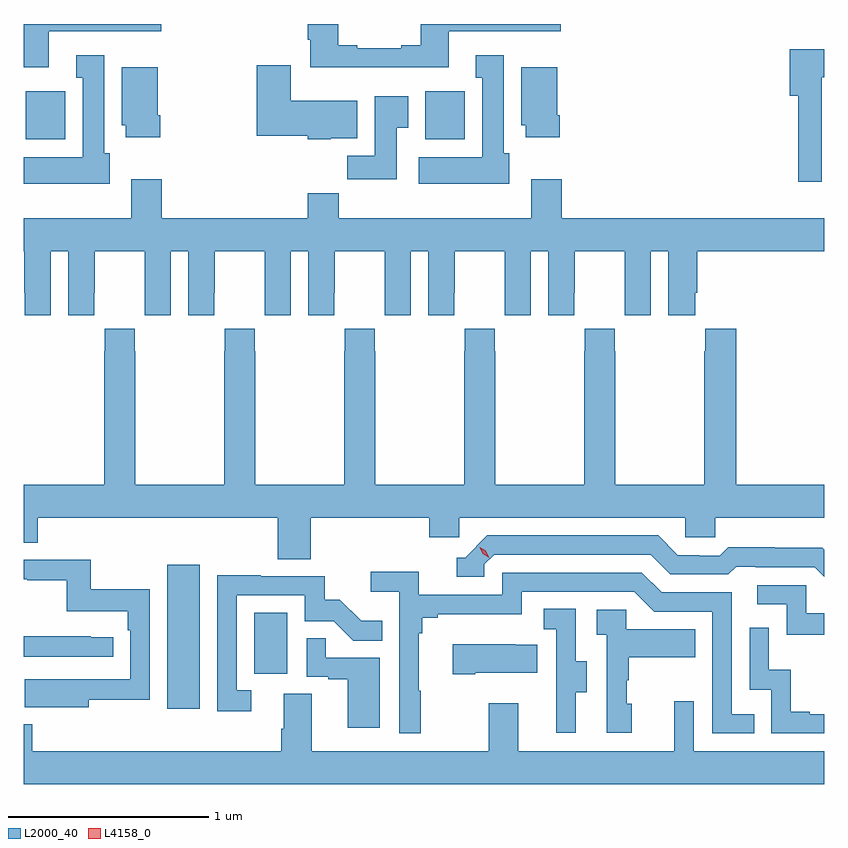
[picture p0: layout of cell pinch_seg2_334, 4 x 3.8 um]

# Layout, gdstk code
import gdstk
lib = gdstk.Library(unit=1e-6, precision=1e-09)
def R(c, l, rs):  # rectangles x0, y0, x1, y1
    for r in rs: c.add(gdstk.rectangle(r[:2], r[2:], *l))
def P(c, l, *ps):  # polygons
    for p in ps: c.add(gdstk.Polygon(p, *l))
L2000_40 = (2000, 40)
L4158_0 = (4158, 0)

pinch_seg2_334 = lib.new_cell('pinch_seg2_334')
R(pinch_seg2_334, L2000_40, [(984.287,636.024,984.448,636.745), (984.722,636.198,984.886,636.505), (983.579,638.87,983.776,639.112), (985.577,638.87,985.774,639.112)])
P(pinch_seg2_334, L2000_40, [(985.693,639.411),(986.254,639.411),(986.254,639.447),(985.553,639.447),(985.553,639.34),(985.457,639.34),(985.457,639.327),(985.237,639.327),(985.237,639.34),(985.141,639.34),(985.141,639.447),(984.989,639.447),(984.989,639.369),(985.001,639.369),(985.001,639.23),(985.693,639.23)],
  [(983.695,639.411),(984.256,639.411),(984.256,639.447),(983.57,639.447),(983.57,639.23),(983.695,639.23)],
  [(987.558,639.182),(987.57,639.182),(987.57,639.322),(987.398,639.322),(987.398,639.089),(987.442,639.089),(987.442,638.658),(987.558,638.658)],
  [(985.996,638.802),(985.969,638.802),(985.969,639.292),(985.829,639.292),(985.829,639.179),(985.862,639.179),(985.862,638.782),(985.545,638.782),(985.545,638.648),(985.996,638.648)],
  [(983.998,638.802),(983.971,638.802),(983.971,639.292),(983.831,639.292),(983.831,639.179),(983.864,639.179),(983.864,638.782),(983.57,638.782),(983.57,638.648),(983.998,638.648)],
  [(985.104,638.876),(985.237,638.876),(985.237,639.064),(984.904,639.064),(984.904,639.241),(984.734,639.241),(984.734,638.888),(984.99,638.888),(984.99,638.87),(985.104,638.87)],
  [(984.251,638.992),(984.238,638.992),(984.238,639.232),(984.059,639.232),(984.059,638.94),(984.08,638.94),(984.08,638.88),(984.251,638.88)],
  [(986.249,638.992),(986.236,638.992),(986.236,639.232),(986.057,639.232),(986.057,638.94),(986.078,638.94),(986.078,638.88),(986.249,638.88)],
  [(985.435,638.929),(985.492,638.929),(985.492,639.085),(985.325,639.085),(985.325,638.788),(985.186,638.788),(985.186,638.67),(985.435,638.67)],
  [(983.704,638.312),(983.792,638.312),(983.792,637.992),(983.922,637.992),(983.922,638.104),(983.923,638.104),(983.923,638.312),(984.173,638.312),(984.173,638.104),(984.174,638.104),(984.174,637.992),(984.304,637.992),(984.304,638.312),(984.392,638.312),(984.392,637.992),(984.522,637.992),(984.522,638.104),(984.523,638.104),(984.523,638.312),(984.773,638.312),(984.773,638.104),(984.774,638.104),(984.774,637.992),(984.904,637.992),(984.904,638.312),(984.992,638.312),(984.992,637.992),(985.122,637.992),(985.122,638.104),(985.123,638.104),(985.123,638.312),(985.373,638.312),(985.373,638.104),(985.374,638.104),(985.374,637.992),(985.504,637.992),(985.504,638.312),(985.592,638.312),(985.592,637.992),(985.722,637.992),(985.722,638.104),(985.723,638.104),(985.723,638.312),(985.973,638.312),(985.973,638.104),(985.974,638.104),(985.974,637.992),(986.104,637.992),(986.104,638.312),(986.192,638.312),(986.192,637.992),(986.322,637.992),(986.322,638.104),(986.323,638.104),(986.323,638.312),(986.573,638.312),(986.573,638.104),(986.574,638.104),(986.574,637.992),(986.704,637.992),(986.704,638.312),(986.792,638.312),(986.792,637.992),(986.926,637.992),(986.926,638.104),(986.936,638.104),(986.936,638.312),(987.57,638.312),(987.57,638.476),(986.258,638.476),(986.258,638.671),(986.105,638.671),(986.105,638.476),(985.145,638.476),(985.145,638.6),(984.989,638.6),(984.989,638.476),(984.26,638.476),(984.26,638.671),(984.107,638.671),(984.107,638.476),(983.57,638.476),(983.57,638.312),(983.573,638.312),(983.573,638.104),(983.574,638.104),(983.574,637.992),(983.704,637.992)],
  [(985.004,636.98),(985.595,636.98),(985.595,636.882),(985.746,636.882),(985.746,636.98),(986.877,636.98),(986.877,636.882),(987.027,636.882),(987.027,636.98),(987.57,636.98),(987.57,637.144),(987.131,637.144),(987.131,637.924),(986.977,637.924),(986.977,637.811),(986.971,637.811),(986.971,637.144),(986.526,637.144),(986.526,637.811),(986.523,637.811),(986.523,637.924),(986.373,637.924),(986.373,637.811),(986.371,637.811),(986.371,637.144),(985.926,637.144),(985.926,637.811),(985.923,637.811),(985.923,637.924),(985.773,637.924),(985.773,637.811),(985.771,637.811),(985.771,637.144),(985.326,637.144),(985.326,637.811),(985.323,637.811),(985.323,637.924),(985.173,637.924),(985.173,637.811),(985.171,637.811),(985.171,637.144),(984.726,637.144),(984.726,637.811),(984.723,637.811),(984.723,637.924),(984.573,637.924),(984.573,637.811),(984.571,637.811),(984.571,637.144),(984.126,637.144),(984.126,637.811),(984.123,637.811),(984.123,637.924),(983.973,637.924),(983.973,637.811),(983.971,637.811),(983.971,637.144),(983.57,637.144),(983.57,636.853),(983.639,636.853),(983.639,636.98),(984.839,636.98),(984.839,636.772),(985.004,636.772)],
  [(985.872,636.747),(985.92,636.795),(986.703,636.795),(986.802,636.696),(987.091,636.696),(987.13,636.735),(987.229,636.735),(987.229,636.732),(987.522,636.732),(987.57,636.684),(987.57,636.819),(987.56,636.829),(987.324,636.829),(987.324,636.832),(987.091,636.832),(987.049,636.789),(986.946,636.789),(986.946,636.792),(986.839,636.792),(986.74,636.891),(985.887,636.891),(985.776,636.78),(985.733,636.78),(985.733,636.684),(985.872,636.684)],
  [(983.893,636.07),(984.198,636.07),(984.198,636.622),(983.905,636.622),(983.905,636.768),(983.57,636.768),(983.57,636.672),(983.587,636.672),(983.587,636.667),(983.784,636.667),(983.784,636.512),(984.089,636.512),(984.089,636.416),(984.102,636.416),(984.102,636.171),(983.789,636.171),(983.789,636.172),(983.575,636.172),(983.575,636.032),(983.893,636.032)],
  [(985.555,636.113),(985.543,636.113),(985.543,636.401),(985.562,636.401),(985.562,636.478),(985.639,636.478),(985.639,636.497),(986.058,636.497),(986.058,636.609),(986.622,636.609),(986.721,636.51),(987.012,636.51),(987.012,635.901),(987.221,635.901),(987.221,635.997),(987.108,635.997),(987.108,636.606),(986.758,636.606),(986.659,636.705),(985.962,636.705),(985.962,636.594),(985.544,636.594),(985.544,636.71),(985.305,636.71),(985.305,636.608),(985.446,636.608),(985.446,635.901),(985.555,635.901)],
  [(984.706,636.117),(984.633,636.117),(984.633,636.591),(984.975,636.591),(984.975,636.462),(985.119,636.462),(985.217,636.364),(985.361,636.364),(985.361,636.463),(985.257,636.463),(985.15,636.57),(985.074,636.57),(985.074,636.687),(984.755,636.687),(984.755,636.692),(984.537,636.692),(984.537,636.012),(984.706,636.012)],
  [(987.57,636.501),(987.48,636.501),(987.48,636.642),(987.237,636.642),(987.237,636.546),(987.384,636.546),(987.384,636.393),(987.57,636.393)],
  [(986.329,636.106),(986.383,636.106),(986.383,636.261),(986.328,636.261),(986.328,636.524),(986.169,636.524),(986.169,636.421),(986.232,636.421),(986.232,636.117),(986.231,636.117),(986.231,635.904),(986.329,635.904)],
  [(986.608,636.048),(986.583,636.048),(986.583,636.167),(986.593,636.167),(986.593,636.281),(986.927,636.281),(986.927,636.421),(986.58,636.421),(986.58,636.519),(986.433,636.519),(986.433,636.395),(986.484,636.395),(986.484,635.904),(986.608,635.904)],
  [(987.57,635.997),(987.499,635.997),(987.499,636.01),(987.404,636.01),(987.404,636.218),(987.294,636.218),(987.294,636.43),(987.198,636.43),(987.198,636.12),(987.306,636.12),(987.306,635.901),(987.57,635.901)],
  [(984.016,636.381),(983.903,636.381),(983.903,636.386),(983.57,636.386),(983.57,636.285),(984.016,636.285)],
  [(985.348,636.279),(985.079,636.279),(985.079,636.377),(984.984,636.377),(984.984,636.183),(985.091,636.183),(985.091,636.171),(985.19,636.171),(985.19,635.928),(985.348,635.928)],
  [(985.825,636.203),(986.135,636.203),(986.135,636.343),(986.027,636.343),(986.027,636.346),(985.713,636.346),(985.713,636.196),(985.825,636.196)],
  [(987.57,635.812),(986.919,635.812),(986.919,636.061),(986.822,636.061),(986.822,635.812),(986.041,635.812),(986.041,636.052),(985.894,636.052),(985.894,635.812),(985.009,635.812),(985.009,636.098),(984.869,636.098),(984.869,635.924),(984.857,635.924),(984.857,635.812),(983.612,635.812),(983.612,635.947),(983.57,635.947),(983.57,635.648),(987.57,635.648)])
P(pinch_seg2_334, L4158_0, [(985.895,636.78),(985.864,636.799),(985.848,636.832),(985.848,636.832),(985.848,636.832),(985.879,636.813),(985.895,636.78),(985.895,636.78)])

lib.write_gds('pinch_seg2_334.gds')
